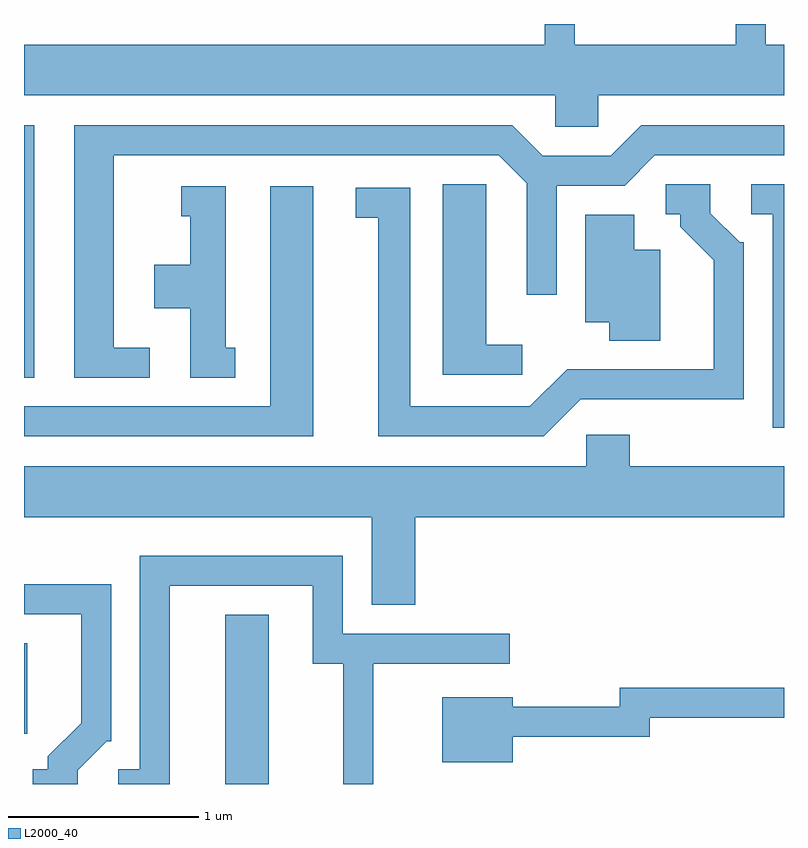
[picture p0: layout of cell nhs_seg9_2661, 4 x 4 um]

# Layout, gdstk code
import gdstk
lib = gdstk.Library(unit=1e-6, precision=1e-09)
def R(c, l, rs):  # rectangles x0, y0, x1, y1
    for r in rs: c.add(gdstk.rectangle(r[:2], r[2:], *l))
def P(c, l, *ps):  # polygons
    for p in ps: c.add(gdstk.Polygon(p, *l))
L2000_40 = (2000, 40)

nhs_seg9_2661 = lib.new_cell('nhs_seg9_2661')
R(nhs_seg9_2661, L2000_40, [(264.671,1970.432,264.899,1971.324), (263.611,1970.696,263.629,1971.174), (263.611,1972.571,263.664,1973.899)])
P(nhs_seg9_2661, L2000_40, [(266.634,1974.056),(267.611,1974.056),(267.611,1974.324),(267.514,1974.324),(267.514,1974.432),(267.356,1974.432),(267.356,1974.324),(266.509,1974.324),(266.509,1974.432),(266.351,1974.432),(266.351,1974.324),(263.611,1974.324),(263.611,1974.056),(266.406,1974.056),(266.406,1973.891),(266.634,1973.891)],
  [(264.273,1972.729),(264.084,1972.729),(264.084,1973.741),(266.109,1973.741),(266.256,1973.594),(266.256,1973.008),(266.414,1973.008),(266.414,1973.581),(266.772,1973.581),(266.932,1973.741),(267.611,1973.741),(267.611,1973.899),(266.859,1973.899),(266.699,1973.739),(266.342,1973.739),(266.182,1973.899),(263.876,1973.899),(263.876,1972.571),(264.273,1972.571)],
  [(266.542,1972.456),(267.399,1972.456),(267.399,1973.284),(267.377,1973.284),(267.224,1973.437),(267.224,1973.589),(266.988,1973.589),(266.988,1973.431),(267.066,1973.431),(267.066,1973.364),(267.241,1973.189),(267.241,1972.614),(266.469,1972.614),(266.274,1972.419),(265.644,1972.419),(265.644,1973.569),(265.358,1973.569),(265.358,1973.411),(265.476,1973.411),(265.476,1972.261),(266.347,1972.261)],
  [(266.233,1972.744),(266.044,1972.744),(266.044,1973.589),(265.816,1973.589),(265.816,1972.586),(266.233,1972.586)],
  [(267.611,1973.589),(267.438,1973.589),(267.438,1973.431),(267.551,1973.431),(267.551,1972.306),(267.611,1972.306)],
  [(264.723,1972.729),(264.674,1972.729),(264.674,1973.579),(264.438,1973.579),(264.438,1973.421),(264.486,1973.421),(264.486,1973.164),(264.296,1973.164),(264.296,1972.936),(264.486,1972.936),(264.486,1972.571),(264.723,1972.571)],
  [(265.134,1973.579),(264.906,1973.579),(264.906,1972.419),(263.611,1972.419),(263.611,1972.261),(265.134,1972.261)],
  [(266.959,1973.244),(266.824,1973.244),(266.824,1973.429),(266.566,1973.429),(266.566,1972.861),(266.691,1972.861),(266.691,1972.766),(266.959,1972.766)],
  [(265.669,1971.836),(267.611,1971.836),(267.611,1972.104),(266.799,1972.104),(266.799,1972.269),(266.571,1972.269),(266.571,1972.104),(263.611,1972.104),(263.611,1971.836),(265.441,1971.836),(265.441,1971.376),(265.669,1971.376)],
  [(264.379,1971.476),(265.131,1971.476),(265.131,1971.066),(265.291,1971.066),(265.291,1970.432),(265.449,1970.432),(265.449,1971.066),(266.168,1971.066),(266.168,1971.224),(265.289,1971.224),(265.289,1971.634),(264.221,1971.634),(264.221,1970.509),(264.108,1970.509),(264.108,1970.432),(264.379,1970.432)],
  [(263.894,1970.504),(264.047,1970.656),(264.069,1970.656),(264.069,1971.484),(263.611,1971.484),(263.611,1971.326),(263.911,1971.326),(263.911,1970.752),(263.736,1970.577),(263.736,1970.509),(263.658,1970.509),(263.658,1970.432),(263.894,1970.432)],
  [(266.184,1970.681),(266.904,1970.681),(266.904,1970.781),(267.611,1970.781),(267.611,1970.939),(266.746,1970.939),(266.746,1970.839),(266.184,1970.839),(266.184,1970.889),(265.811,1970.889),(265.811,1970.546),(266.184,1970.546)])

lib.write_gds('nhs_seg9_2661.gds')
